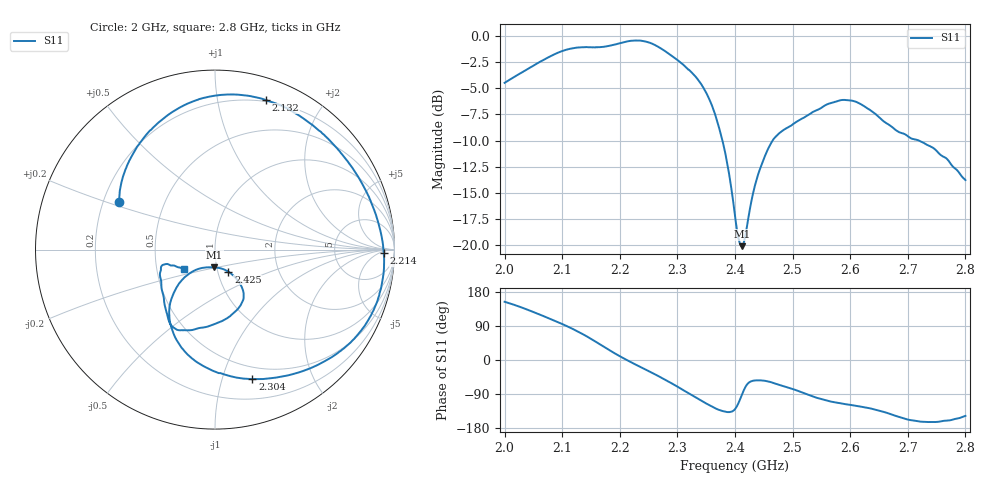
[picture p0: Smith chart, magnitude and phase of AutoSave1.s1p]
!Agilent N9923A: A.05.17
!Date: Sunday, 01 January 2006 12:14:33
!Model: N9923A
!Serial: MY50371189
!CHECKSUM:1599253123
!Correction: S11(ON U)
!S1P File: Measurement: S11:
# Hz S DB R 50
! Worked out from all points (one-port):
!   1001 points, 2 GHz to 2.8 GHz, reference 50 ohm
!   lowest |S11| = -20.1 dB at 2.412 GHz (marker M1), VSWR 1.22, Z = 48.7 - j9.73 ohm
!   |S11| at or under -10 dB: 2.378 GHz to 2.465 GHz (87.15 MHz wide, 3.6 % of centre); 2.719 GHz to end of sweep
!   S11 on the Smith chart (normalised r, x): 2 GHz: 0.27, +0.22; 2.132 GHz: 0.19, +1.38; 2.214 GHz: 29, -10; 2.304 GHz: 0.38, -1.26; 2.425 GHz: 1.12, -0.28; 2.8 GHz: 0.69, -0.16
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2e9  -4.49 153.6
2.052e9  -2.79 125.4
2.1e9  -1.46 95.0
2.132e9  -1.10 71.2
2.1608e9  -1.09 45.7
2.1808e9  -0.96 26.9
2.2e9  -0.71 9.9
2.2136e9  -0.53 -1.3
2.232e9  -0.45 -15.6
2.2504e9  -0.64 -29.5
2.276e9  -1.37 -49.7
2.3e9  -2.31 -70.3
2.304e9  -2.49 -73.9
2.3288e9  -3.74 -96.0
2.3544e9  -5.94 -118.4
2.3808e9  -10.62 -135.7
2.4e9  -17.20 -129.7
2.4064e9  -19.43 -112.4
2.412e9  -20.09 -91.9
2.4248e9  -16.86 -58.9
2.4384e9  -13.55 -53.7
2.4584e9  -10.69 -56.9
2.5e9  -8.47 -76.4
2.5568e9  -6.63 -105.9
2.6e9  -6.17 -118.4
2.7e9  -9.58 -157.2
2.7488e9  -10.92 -163.6
2.8e9  -13.78 -147.5
